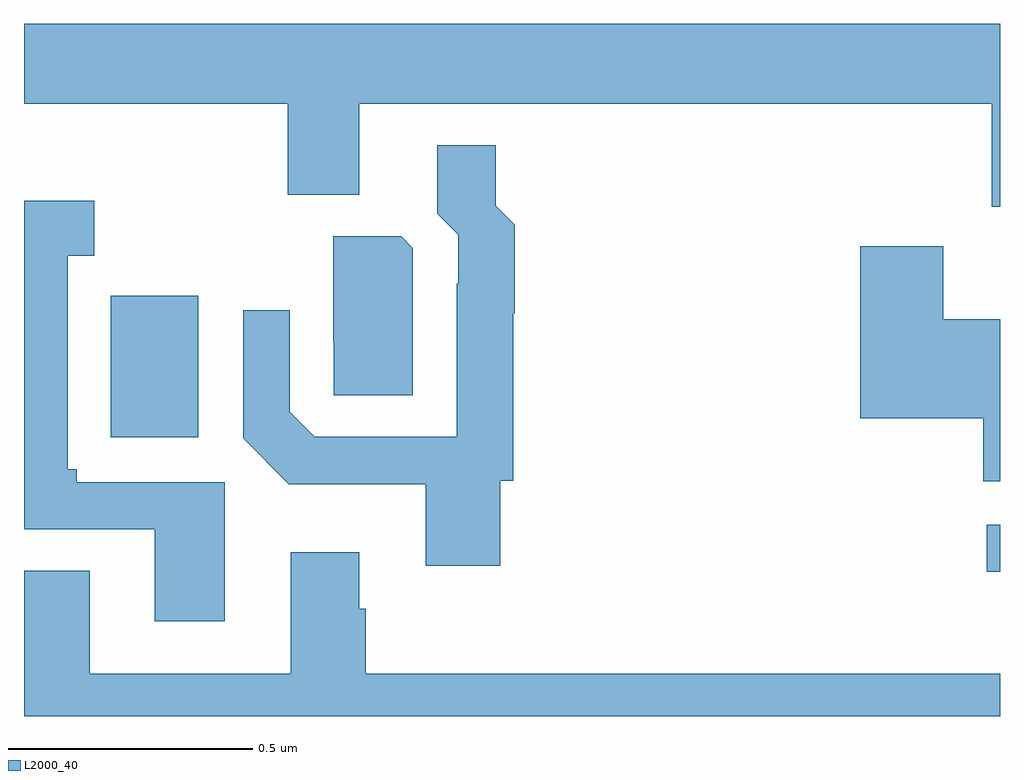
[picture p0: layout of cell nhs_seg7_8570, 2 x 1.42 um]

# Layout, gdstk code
import gdstk
lib = gdstk.Library(unit=1e-6, precision=1e-09)
def R(c, l, rs):  # rectangles x0, y0, x1, y1
    for r in rs: c.add(gdstk.rectangle(r[:2], r[2:], *l))
def P(c, l, *ps):  # polygons
    for p in ps: c.add(gdstk.Polygon(p, *l))
L2000_40 = (2000, 40)

nhs_seg7_8570 = lib.new_cell('nhs_seg7_8570')
R(nhs_seg7_8570, L2000_40, [(227.973,1026.297,228,1026.393), (226.178,1026.572,226.357,1026.862)])
P(nhs_seg7_8570, L2000_40, [(228,1027.42),(226,1027.42),(226,1027.256),(226.54,1027.256),(226.54,1027.069),(226.687,1027.069),(226.687,1027.256),(227.983,1027.256),(227.983,1027.045),(228,1027.045)],
  [(226.976,1026.483),(227.003,1026.483),(227.003,1026.826),(227.006,1026.826),(227.006,1027.008),(226.967,1027.047),(226.967,1027.171),(226.847,1027.171),(226.847,1027.03),(226.89,1026.987),(226.89,1026.887),(226.887,1026.887),(226.887,1026.573),(226.596,1026.573),(226.545,1026.624),(226.545,1026.832),(226.449,1026.832),(226.449,1026.57),(226.543,1026.476),(226.823,1026.476),(226.823,1026.309),(226.976,1026.309)],
  [(226.411,1026.48),(226.108,1026.48),(226.108,1026.507),(226.09,1026.507),(226.09,1026.944),(226.144,1026.944),(226.144,1027.057),(226,1027.057),(226,1026.384),(226.268,1026.384),(226.268,1026.195),(226.411,1026.195)],
  [(226.797,1026.96),(226.773,1026.984),(226.634,1026.984),(226.634,1026.769),(226.635,1026.769),(226.635,1026.658),(226.797,1026.658)],
  [(228,1026.814),(227.884,1026.814),(227.884,1026.964),(227.714,1026.964),(227.714,1026.611),(227.966,1026.611),(227.966,1026.482),(228,1026.482)],
  [(228,1026.088),(226.7,1026.088),(226.7,1026.221),(226.687,1026.221),(226.687,1026.337),(226.547,1026.337),(226.547,1026.088),(226.135,1026.088),(226.135,1026.299),(226,1026.299),(226,1026),(228,1026)])

lib.write_gds('nhs_seg7_8570.gds')
